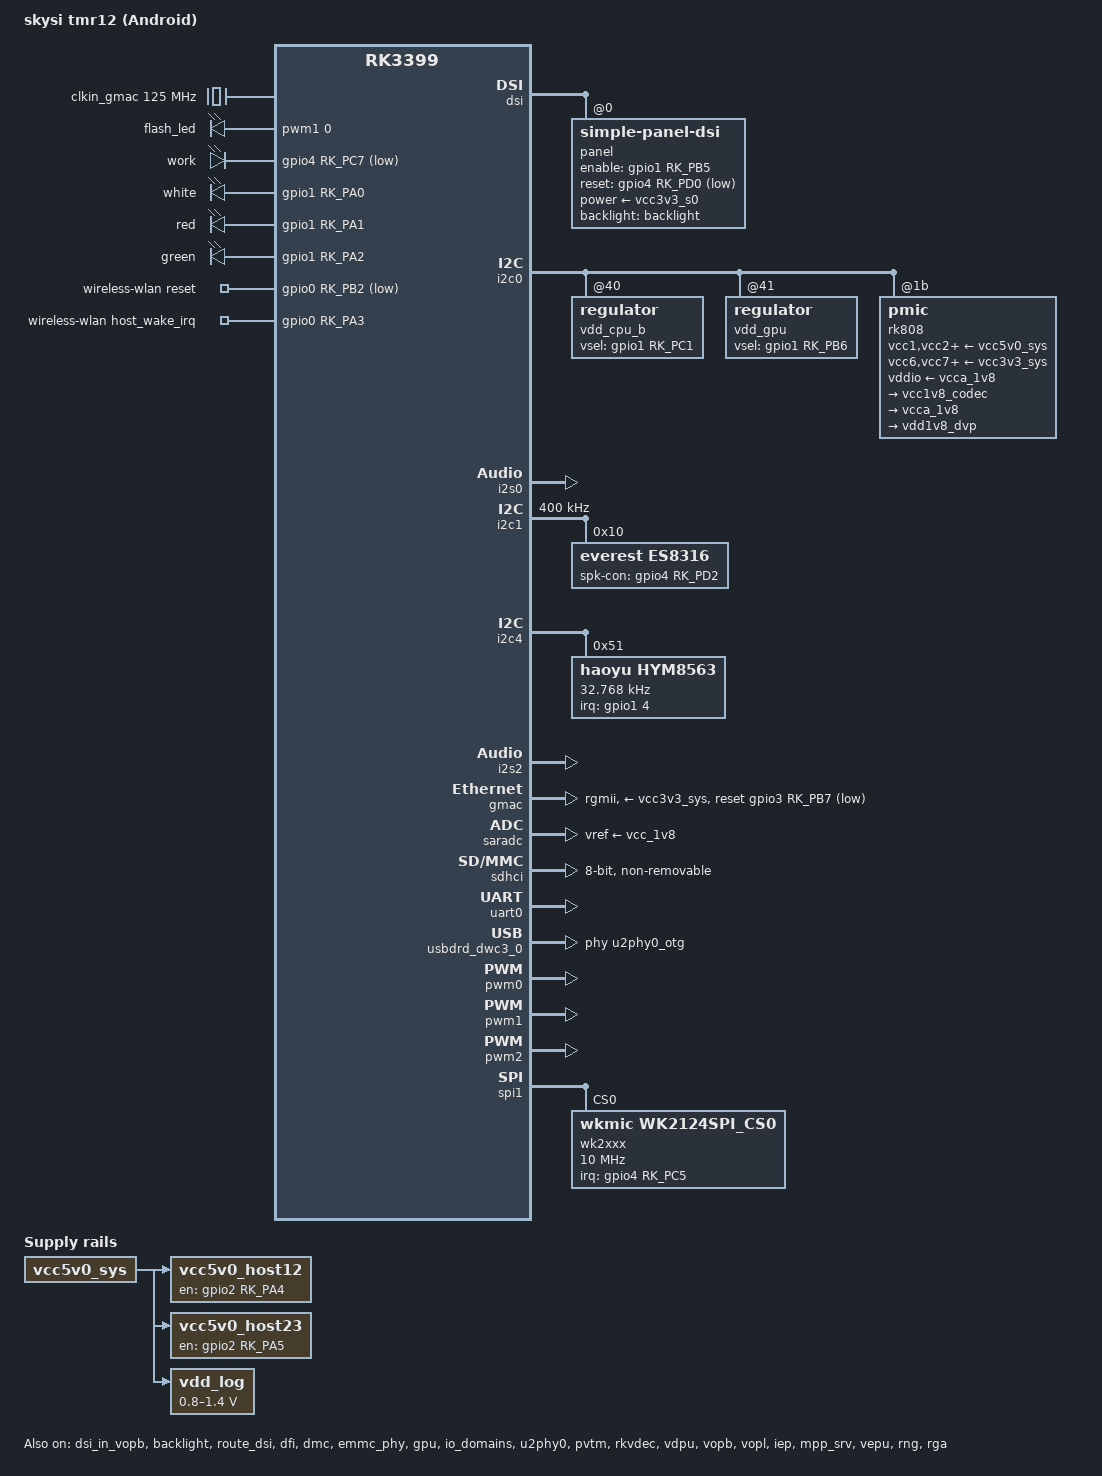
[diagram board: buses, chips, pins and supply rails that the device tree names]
// SPDX-License-Identifier: (GPL-2.0+ OR MIT)


/dts-v1/;
#include "rk3399-excavator-sapphire.dtsi"
#include "rk3399-android.dtsi"

/ {
	model = "skysi tmr12 (Android)";
	compatible = "rockchip,android", "rockchip,rk3399-evb-lp4x-tmr12-v10", "rockchip,rk3399";

	chosen: chosen {
		bootargs = "earlycon=uart8250,mmio32,0xff1a0000 console=ttyFIQ0 androidboot.baseband=N/A androidboot.veritymode=enforcing androidboot.hardware=rk30board androidboot.console=ttyFIQ0 init=/init initrd=0x62000001,0x00800000 coherent_pool=1m";
	};

	/* first 64k(0xff8c0000~0xff8d0000) for ddr and suspend */
	iram: sram@ff8d0000 {
		compatible = "mmio-sram";
		reg = <0x0 0xff8d0000 0x0 0x20000>; /* 128k */
	};

	vcc5v0_sys: vcc5v0-sys {
		vin-supply = <&dc_12v>;
	};

	vcc3v3_sys: vcc3v3-sys {
		vin-supply = <&dc_12v>;
	};

	vcc5v0_host: vcc5v0-host-regulator {
		gpio = <&gpio1 RK_PA3 GPIO_ACTIVE_HIGH>;
		vin-supply = <&vcc5v0_sys>;
	};

	vcc5v0_host12: vcc5v0-host-12-regulator {
		compatible = "regulator-fixed";
		enable-active-high;
		gpio = <&gpio2 RK_PA4 GPIO_ACTIVE_HIGH>;
		pinctrl-names = "default";
		pinctrl-0 = <&host_vbus_drv_12>;
		regulator-name = "vcc5v0_host12";
		regulator-always-on;
		vin-supply = <&vcc5v0_sys>;
	};

	vcc5v0_host23: vcc5v0-host-23-regulator {
		compatible = "regulator-fixed";
		enable-active-high;
		gpio = <&gpio2 RK_PA5 GPIO_ACTIVE_HIGH>;
		pinctrl-names = "default";
		pinctrl-0 = <&host_vbus_drv_23>;
		regulator-name = "vcc5v0_host23";
		regulator-always-on;
		vin-supply = <&vcc5v0_sys>;
	};

	vdd_log: vdd-log {
		compatible = "pwm-regulator";
		pwms = <&pwm2 0 25000 1>;
		regulator-name = "vdd_log";
		regulator-min-microvolt = <800000>;
		regulator-max-microvolt = <1400000>;
		regulator-always-on;
		regulator-boot-on;

		/* for rockchip boot on */
		rockchip,pwm_id= <2>;
		rockchip,pwm_voltage = <900000>;

		vin-supply = <&vcc5v0_sys>;
	};

	clkin_gmac: external-gmac-clock {
		compatible = "fixed-clock";
		clock-frequency = <125000000>;
		clock-output-names = "clkin_gmac";
		#clock-cells = <0>;
	};

	es8316-sound {
		status = "okay";
		compatible = "simple-audio-card";
		simple-audio-card,format = "i2s";
		simple-audio-card,name = "rockchip,es8316-codec";
		simple-audio-card,mclk-fs = <256>;
		simple-audio-card,widgets =
			"Microphone", "Mic Jack",
			"Headphone", "Headphone Jack";
		simple-audio-card,routing =
			"Mic Jack", "MICBIAS1",
			"IN1P", "Mic Jack",
			"Headphone Jack", "HPOL",
			"Headphone Jack", "HPOR";
		simple-audio-card,cpu {
			sound-dai = <&i2s0>;
			system-clock-frequency = <11289600>;
		};
		simple-audio-card,codec {
			sound-dai = <&es8316>;
			system-clock-frequency = <11289600>;
		};
	};

	pwm-leds {
		compatible = "pwm-leds";

		front {
			active-high;
			label = "flash_led";
			max-brightness = <255>;
			pwms = <&pwm1 0 25000 0>;
			linux,default-trigger = "default-on";
		};
	};

	leds {
		compatible = "gpio-leds";

		work-led {
			label = "work";
			gpios = <&gpio4 RK_PC7 GPIO_ACTIVE_LOW>;
			linux,default-trigger = "none";
			default-state = "on";
		};

		white {
			label = "white";
			gpios = <&gpio1 RK_PA0 GPIO_ACTIVE_HIGH>;
			linux,default-trigger = "none";
			default-state = "on";
		};

		red {
			label = "red";
			gpios = <&gpio1 RK_PA1 GPIO_ACTIVE_HIGH>;
			linux,default-trigger = "none";
			default-state = "off";
		};

		green {
			label = "green";
			gpios = <&gpio1 RK_PA2 GPIO_ACTIVE_HIGH>;
			linux,default-trigger = "none";
			default-state = "off";
		};
	};

	adc_keys {
		/delete-node/ menu-key;
		/delete-node/ home-key;
		/delete-node/ camera-key;
	};

	test-power {
		status = "okay";
	};

	rga: rga@ff680000 {
		compatible = "rockchip,rga2";
		dev_mode = <1>;
		reg = <0x0 0xff680000 0x0 0x1000>;
		interrupts = <GIC_SPI 55 IRQ_TYPE_LEVEL_HIGH 0>;
		clocks = <&cru ACLK_RGA>, <&cru HCLK_RGA>, <&cru SCLK_RGA_CORE>;
		clock-names = "aclk_rga", "hclk_rga", "clk_rga";
		power-domains = <&power RK3399_PD_RGA>;
		status = "okay";
	};

	wireless-wlan {
		compatible = "wlan-platdata";
		rockchip,grf = <&grf>;
		wifi_chip_type = "ap6354";
		sdio_vref = <1800>;
		WIFI,reset_gpio    = <&gpio0 RK_PB2 GPIO_ACTIVE_LOW>;
		WIFI,host_wake_irq = <&gpio0 RK_PA3 GPIO_ACTIVE_HIGH>;
		status = "okay";
	};

	wireless-bluetooth {
		BT,wake_gpio     = <&gpio2 RK_PD3 GPIO_ACTIVE_HIGH>;
		status = "okay";
	};
};

&dsi_in_vopb {
	status = "okay";
};

&dsi_in_vopl {
	status = "disabled";
};

&backlight {
	status = "okay";
	pwms = <&pwm0 0 200000 0>;
	enable-gpios = <&gpio4 RK_PD5 GPIO_ACTIVE_HIGH>;
};

&dsi {
	status = "okay";

	panel@0 {
		status = "okay";
		compatible = "simple-panel-dsi";
		reg = <0>;
		backlight = <&backlight>;
		power-supply = <&vcc3v3_s0>;
		enable-gpios = <&gpio1 RK_PB5 GPIO_ACTIVE_HIGH>;
		reset-gpios = <&gpio4 RK_PD0 GPIO_ACTIVE_LOW>;
		pinctrl-names = "default", "sleep";
		pinctrl-0 = <&lcd_en>;
		pinctrl-1 = <&lcd_en_slp>;
		prepare-delay-ms = <10>;
		unprepare-delay-ms = <100>;
		reset-delay-ms = <10>;
		init-delay-ms = <20>;
		enable-delay-ms = <120>;
		disable-delay-ms = <5>;
		dsi,flags = <(MIPI_DSI_MODE_VIDEO | MIPI_DSI_MODE_VIDEO_BURST |
				MIPI_DSI_MODE_LPM | MIPI_DSI_MODE_EOT_PACKET)>;
		dsi,format = <MIPI_DSI_FMT_RGB888>;
		dsi,lanes  = <4>;

		panel-init-sequence = [
			39 00 03 E0 AB BA
			39 00 03 E1 BA AB
			39 00 05 B1 10 01 47 FF
			39 00 07 B2 0c 10 04 50 50 14

			39 00 04 B3 56 D3 00
			39 00 04 B4 33 30 04
			39 00 08 B6 b0 00 00 10 00 10 00
			39 00 06 B8 36 12 29 49 48

			39 00 27 B9 7F 67 55 49 44 34 38 23 3E 3F 3F 5D 4B 52 44
				41 36 24 06 7F 67 55 49 44 34 38 23 3E 3F 3F 5D
				4B 52 44 41 36 24 06

			39 00 11 C0 32 45 B4 45 66 44 44 44 90 04 86 04 3F 00 00 C1
			39 00 0B C1 34 94 02 8f 90 04 86 04 54 00
			39 00 0D C2 33 09 08 89 08 11 22 20 44 BB 18 00
			39 00 17 C3 80 40 08 07 06 13 12 11 10 0F 0E 0D 0C 04 05 02 02 02 02 02 02 00
			39 00 17 C4 00 00 08 07 06 13 12 11 10 0F 0E 0D 0C 04 05 02 02 02 02 02 02 02

			39 00 03 C6 25 25
			39 00 07 C8 21 00 31 42 34 16
			39 00 03 CA cb 43
			39 00 09 CD 0E 6e 6e 20 19 6B 06 b3
			39 00 05 D2 E3 2B 38 00
			39 00 0C D4 00 01 00 0E 04 44 08 10 00 00 00

			39 00 09 E6 80 01 FF FF FF FF FF FF
			39 00 06 F0 12 03 20 00 FF
			15 00 02 F3 00
			05 00 01 11
			05 05 01 29
		];

		panel-exit-sequence = [
			05 00 01 28
			05 00 01 10
		];

		disp_timings0: display-timings {
			native-mode = <&dsi0_timing0>;

			dsi0_timing0: timing0 {
				clock-frequency = <76800000>;
				hactive = <800>;
				vactive = <1280>;
				hfront-porch = <80>;
				hsync-len = <20>;
				hback-porch = <80>;
				vfront-porch = <20>;
				vsync-len = <4>;
				vback-porch = <12>;
				hsync-active = <0>;
				vsync-active = <0>;
				de-active = <0>;
				pixelclk-active = <0>;
			};
		};
	};
};

&route_dsi {
	status = "okay";
	connect = <&vopb_out_dsi>;
};

&dmac_bus {
	iram = <&iram>;
	rockchip,force-iram;
};

&cdn_dp {
	status = "disabled";
	phys = <&tcphy0_dp>;
};

&cpu_l0 {
	cpu-supply = <&vdd_cpu_l>;
};

&cpu_l1 {
	cpu-supply = <&vdd_cpu_l>;
};

&cpu_l2 {
	cpu-supply = <&vdd_cpu_l>;
};

&cpu_l3 {
	cpu-supply = <&vdd_cpu_l>;
};

&cpu_b0 {
	cpu-supply = <&vdd_cpu_b>;
};

&cpu_b1 {
	cpu-supply = <&vdd_cpu_b>;
};

&dp_in_vopb {
	status = "disabled";
};

&dfi {
	status = "okay";
};

&dmc {
	status = "okay";
	center-supply = <&vdd_center>;
	upthreshold = <40>;
	downdifferential = <20>;
	system-status-freq = <
		/*system status         freq(KHz)*/
		SYS_STATUS_NORMAL       856000
		SYS_STATUS_REBOOT       856000
		SYS_STATUS_SUSPEND      328000
		SYS_STATUS_VIDEO_1080P  666000
		SYS_STATUS_VIDEO_4K     856000
		SYS_STATUS_VIDEO_4K_10B 856000
		SYS_STATUS_PERFORMANCE  856000
		SYS_STATUS_BOOST        856000
		SYS_STATUS_DUALVIEW     856000
		SYS_STATUS_ISP          856000
	>;
	vop-bw-dmc-freq = <
	/* min_bw(MB/s) max_bw(MB/s) freq(KHz) */
		0       762      416000
		763     3012     666000
		3013    99999    856000
	>;

	vop-pn-msch-readlatency = <
		0	0x20
		4	0x20
	>;

	auto-min-freq = <328000>;
	auto-freq-en = <0>;
};

&dmc_opp_table {
		compatible = "operating-points-v2";

		opp-200000000 {
			opp-hz = /bits/ 64 <200000000>;
			opp-microvolt = <900000>;
			status = "disabled";
		};
		opp-300000000 {
			opp-hz = /bits/ 64 <300000000>;
			opp-microvolt = <900000>;
			status = "disabled";
		};
		opp-328000000 {
			opp-hz = /bits/ 64 <328000000>;
			opp-microvolt = <900000>;
		};
		opp-400000000 {
			opp-hz = /bits/ 64 <400000000>;
			opp-microvolt = <900000>;
			status = "disabled";
		};
		opp-416000000 {
			opp-hz = /bits/ 64 <416000000>;
			opp-microvolt = <900000>;
		};
		opp-528000000 {
			opp-hz = /bits/ 64 <528000000>;
			opp-microvolt = <900000>;
			status = "disabled";
		};
		opp-600000000 {
			opp-hz = /bits/ 64 <600000000>;
			opp-microvolt = <900000>;
			status = "disabled";
		};
		opp-666000000 {
			opp-hz = /bits/ 64 <666000000>;
			opp-microvolt = <900000>;
		};
		opp-800000000 {
			opp-hz = /bits/ 64 <800000000>;
			opp-microvolt = <900000>;
			status = "disabled";
		};
		opp-856000000 {
			opp-hz = /bits/ 64 <856000000>;
			opp-microvolt = <900000>;
		};
		opp-928000000 {
			opp-hz = /bits/ 64 <928000000>;
			opp-microvolt = <900000>;
			status = "disabled";
		};
};

&sdio_pwrseq {
	status = "disabled";
};

&sdio0 {
	status = "disabled";
};

&emmc_phy {
	status = "okay";
};

&i2c0 {

	vdd_cpu_b: regulator@40 {
		vsel-gpios = <&gpio1 RK_PC1 GPIO_ACTIVE_HIGH>;
	};

	vdd_gpu: regulator@41 {
		vsel-gpios = <&gpio1 RK_PB6 GPIO_ACTIVE_HIGH>;
	};

	rk808: pmic@1b {
		vcc1-supply = <&vcc5v0_sys>;
		vcc2-supply = <&vcc5v0_sys>;
		vcc3-supply = <&vcc5v0_sys>;
		vcc4-supply = <&vcc5v0_sys>;
		vcc6-supply = <&vcc3v3_sys>;
		vcc7-supply = <&vcc3v3_sys>;
		vcc8-supply = <&vcc3v3_sys>;
		vcc9-supply = <&vcc3v3_sys>;
		vcc10-supply = <&vcc3v3_sys>;
		vcc11-supply = <&vcc3v3_sys>;
		vcc12-supply = <&vcc3v3_sys>;
		vddio-supply = <&vcca_1v8>;

		regulators {
			vcc1v8_codec: LDO_REG1 {
				regulator-name = "vcc1v8_codec";
			};

			vcca_1v8: LDO_REG3 {
				regulator-name = "vcca_1v8";
			};

			vdd1v8_dvp: LDO_REG7 {
				regulator-name = "vdd1v8_dvp";
				/delete-property/ regulator-always-on;
				/delete-property/ regulator-boot-on;
				regulator-state-mem {
					regulator-off-in-suspend;
				};
			};

			vcc3v3_s0: SWITCH_REG2 {
				/delete-property/ regulator-always-on;
				/delete-property/ regulator-boot-on;
			};
		};
	};
};

&i2s0 {
	status = "okay";
	rockchip,i2s-broken-burst-len;
	rockchip,playback-channels = <8>;
	rockchip,capture-channels = <8>;
	#sound-dai-cells = <0>;
};

&i2c1 {
	status = "okay";
	i2c-scl-rising-time-ns = <300>;
	i2c-scl-falling-time-ns = <15>;
	clock-frequency = <400000>;

	es8316: es8316@10 {
		#sound-dai-cells = <0>;
		compatible = "everest,es8316";
		reg = <0x10>;
		clocks = <&cru SCLK_I2S_8CH_OUT>;
		clock-names = "mclk";
		pinctrl-names = "default";
		pinctrl-0 = <&i2s_8ch_mclk>;
		spk-con-gpios = <&gpio4 RK_PD2 GPIO_ACTIVE_HIGH>;
	};

	/delete-node/ rt5651;
};

&i2c4 {
	status = "okay";
	fusb0: fusb30x@22 {
		status = "disabled";
	};
	mpu6500_acc: mpu_acc@68 {
		status = "disabled";
	};
	mpu6500_gyro: mpu_gyro@68 {
		status = "disabled";
	};

	hym8563: hym8563@51 {
		compatible = "haoyu,hym8563";
		reg = <0x51>;
		interrupt-parent = <&gpio1>;
		interrupts = <4 IRQ_TYPE_EDGE_FALLING>;
		pinctrl-names = "default";
		pinctrl-0 = <&rtc_int>;
		#clock-cells = <0>;
		clock-frequency = <32768>;
		clock-output-names = "xin32k";
	};
};

&i2s2 {
	#sound-dai-cells = <0>;
	status = "okay";
};

&gmac {
	phy-supply = <&vcc3v3_sys>;
	phy-mode = "rgmii";
	clock_in_out = "input";
	snps,reset-gpio = <&gpio3 RK_PB7 GPIO_ACTIVE_LOW>;
	snps,reset-active-low;
	snps,reset-delays-us = <0 10000 50000>;
	assigned-clocks = <&cru SCLK_RMII_SRC>;
	assigned-clock-parents = <&clkin_gmac>;
	pinctrl-names = "default", "sleep";
	pinctrl-0 = <&rgmii_pins>;
	pinctrl-1 = <&rgmii_sleep_pins>;
	tx_delay = <0x29>;
	rx_delay = <0xc>;
	status = "okay";
};

&gpu {
	status = "okay";
	mali-supply = <&vdd_gpu>;
};

&io_domains {
	status = "okay";

	bt656-supply = <&vcc_1v8>; /* bt656_gpio2ab_ms */
	audio-supply = <&vcc_1v8>; /* audio_gpio3d4a_ms */
	gpio1830-supply = <&vcc_3v0>; /* gpio1833_gpio4cd_ms */
};

&pcie_phy {
	status = "disabled";
};

&pcie0 {
	status = "disabled";
};

&saradc {
	status = "okay";
    vref-supply = <&vcc_1v8>;
};

&sdhci {
	bus-width = <8>;
	mmc-hs400-1_8v;
	supports-emmc;
	non-removable;
	keep-power-in-suspend;
	mmc-hs400-enhanced-strobe;
	status = "okay";
};

&sdmmc {
	status = "disabled";
};

&spdif {
	status = "disabled";
};

&tcphy0 {
	/delete-property/ extcon;
	status = "disabled";
};

&u2phy0 {
	status = "okay";
	reset-gpios = <&gpio4 RK_PD6 GPIO_ACTIVE_HIGH>;
	/delete-property/ extcon;
};

&uart0 {
	pinctrl-names = "default";
	pinctrl-0 = <&uart0_xfer &uart0_cts>;
	status = "okay";
};

&uart2 {
	status = "disabled";
};

&usbdrd_dwc3_0 {
	extcon = <&u2phy0>;
	maximum-speed = "high-speed";
	phys = <&u2phy0_otg>;
	phy-names = "usb2-phy";
	status = "okay";
};

&pwm0 {
	status = "okay";
};

&pwm1 {
	status = "okay";
};

&pwm2 {
	status = "okay";
	pinctrl-names = "active";
	pinctrl-0 = <&pwm2_pin_pull_down>;
};

&pinctrl {
	wireless-bluetooth {
		bt_wake_gpio: bt-wake-gpio {
			rockchip,pins =
				<2 RK_PD3 RK_FUNC_GPIO &pcfg_pull_none>;
		};
	};

	gmac {
		rgmii_sleep_pins: rgmii-sleep-pins {
			rockchip,pins =
				<3 RK_PB7 RK_FUNC_GPIO &pcfg_output_low>;
		};
	};

	headphone {
		hp_det: hp-det {
			rockchip,pins =
				<4 RK_PD4 RK_FUNC_GPIO &pcfg_pull_up>;
		};
	};

	usb2 {
		host_vbus_drv: host-vbus-drv {
			rockchip,pins =
				<1 RK_PA3 RK_FUNC_GPIO &pcfg_pull_none>;
		};

		host_vbus_drv_12: host-vbus-drv-12 {
			rockchip,pins =
				<2 RK_PA4 RK_FUNC_GPIO &pcfg_pull_none>;
		};

		host_vbus_drv_23: host-vbus-drv-23 {
			rockchip,pins =
				<2 RK_PA5 RK_FUNC_GPIO &pcfg_pull_none>;
		};
	};

	lcd-panel {
		lcd_en: lcd-en {
			rockchip,pins = <1 RK_PB5 RK_FUNC_GPIO &pcfg_pull_none>;
		};

		lcd_en_slp: lcd-en-slp {
			rockchip,pins = <1 RK_PB5 RK_FUNC_GPIO &pcfg_output_low>;
		};
	};

	rtc {
		rtc_int: rtc-int {
			rockchip,pins =
				<1 RK_PA4 RK_FUNC_GPIO &pcfg_pull_up>;
		};
	};
};

&pvtm {
	status = "okay";
};

&pmu_pvtm {
	status = "okay";
};

&pmu_io_domains {
	status = "okay";
	pmu1830-supply = <&vcc_1v8>;
};

&rockchip_suspend {
	status = "okay";
	rockchip,sleep-debug-en = <0>;
	rockchip,sleep-mode-config = <
		(0
		| RKPM_SLP_ARMPD
		| RKPM_SLP_PERILPPD
		| RKPM_SLP_DDR_RET
		| RKPM_SLP_PLLPD
		| RKPM_SLP_CENTER_PD
		| RKPM_SLP_AP_PWROFF
		)
	>;
	rockchip,wakeup-config = <
		(0
		| RKPM_GPIO_WKUP_EN
		| RKPM_PWM_WKUP_EN
		)
	>;
	rockchip,pwm-regulator-config = <
		(0
		| PWM2_REGULATOR_EN
		)
	>;
	rockchip,power-ctrl =
		<&gpio1 RK_PC1 GPIO_ACTIVE_HIGH>,
		<&gpio1 RK_PB6 GPIO_ACTIVE_HIGH>;
};

&rkvdec {
	status = "okay";
};

&rkvdec_mmu {
	status = "okay";
};

&vdpu {
	status = "okay";
};

&vpu_mmu {
	status = "okay";
};

&vopb {
	status = "okay";
	assigned-clocks = <&cru DCLK_VOP0_DIV>;
	assigned-clock-parents = <&cru PLL_CPLL>;
};

&vopl {
	status = "okay";
	assigned-clocks = <&cru DCLK_VOP1_DIV>;
	assigned-clock-parents = <&cru PLL_VPLL>;
};

&hdmi_in_vopl {
	status = "disabled";
};

&hdmi_in_vopb {
	status = "disabled";
};

&hdmi {
	status = "disabled";
};

&hdmi_sound {
	status = "disabled";
};

&route_hdmi {
	status = "disabled";
	connect = <&vopl_out_hdmi>;
};

&spi1 {
	status = "okay";
	max-freq = <48000000>;
	pinctrl-0 = <&spi1_clk &spi1_tx &spi1_rx &spi1_cs0>;

	wk2xxx: wk2xxx {
		compatible = "wkmic,wk2124spi_cs0";
		reg = <0>;
		spi-max-frequency = <10000000>;
		poll_mode = <0>;
		type = <0>;
		enable_dma = <0>;
		irq_gpio = <&gpio4 RK_PC5 IRQ_TYPE_LEVEL_LOW>;
	};
};

&iep {
	status = "okay";
};

&iep_mmu {
	status = "okay";
};

&mpp_srv {
	status = "okay";
};

&vepu {
	status = "okay";
};

&rng {
	status = "okay";
};
